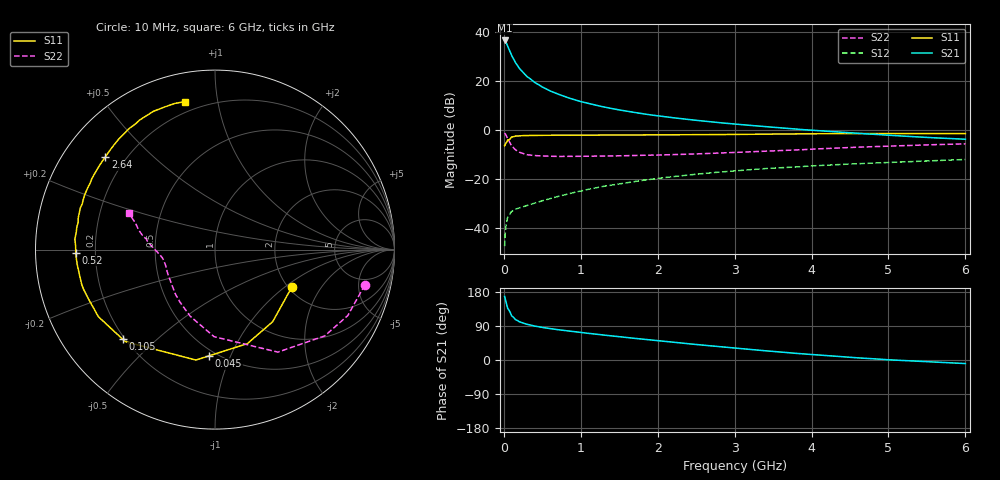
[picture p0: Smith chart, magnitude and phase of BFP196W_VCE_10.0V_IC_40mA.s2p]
! Infineon Technologies  Discrete & RF Semiconductors
! BFP196W
! VCE = 10.0V,  IC =  40mA
! Common Emitter S-Parameters:  Jan 2016
# GHz  S  MA  R  50
!  f  S11  S21  S12  S22
! GHz  MAG  ANG  MAG  ANG  MAG  ANG  MAG  ANG
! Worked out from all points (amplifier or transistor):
!   210 points, 10 MHz to 6 GHz, reference 50 ohm
!   highest |S21| = 36.4 dB at 10 MHz (marker M1)
!   |S21| within 3 dB of that: start of sweep to 59.57 MHz
!   unconditionally stable (mu >= 1): 763.2 MHz to 3.88 GHz
!   at 185 MHz: K = 0.47, MSG = 28.9 dB, |S12| = -31.9 dB
!   at 1.52 GHz: K = 1.11, MAG = 12.9 dB, |S12| = -21.8 dB
!   at 6 GHz: K = 0.95, MSG = 4.1 dB, |S12| = -12.0 dB
!   S11 on the Smith chart (normalised r, x): 10 MHz: 2.07, -1.13; 45 MHz: 0.46, -0.83; 105 MHz: 0.19, -0.39; 520 MHz: 0.13, -0.01; 2.64 GHz: 0.13, +0.36; 6 GHz: 0.14, +0.81
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0.01  0.4763 -26.3  66.2 167.7  0.0043 67.9  0.8575 -13.3
0.02  0.5146 -51.4  64.32 159.3  0.0086 66.2  0.8262 -26.4
0.03  0.554 -71.0  60.15 150.6  0.0117 61.8  0.7777 -38.2
0.045  0.5934 -93.3  52.62 140.4  0.0154 53.2  0.6881 -52.9
0.05  0.6244 -99.8  50.55 136.4  0.0167 51.2  0.6699 -58.5
0.1  0.7162 -134.3  32.92 116.9  0.0218 39.0  0.4851 -90.6
0.105  0.717 -135.9  31.95 116.2  0.022 38.6  0.4741 -92.2
0.15  0.7496 -150.1  23.53 106.7  0.0243 35.8  0.3963 -110.4
0.2  0.7566 -158.7  18.02 101.1  0.0258 36.2  0.3526 -123.3
0.24  0.7649 -163.2  15.34 98.0  0.0271 37.0  0.3351 -130.2
0.3  0.7679 -168.2  12.24 94.2  0.0289 39.6  0.3132 -139.0
0.4  0.7723 -174.0  9.273 89.5  0.0325 42.8  0.3009 -147.8
0.52  0.7761 -178.8  7.219 85.3  0.0368 47.1  0.2941 -154.6
0.7  0.783 175.7  5.389 80.1  0.0441 51.6  0.2888 -160.8
1.02  0.7783 168.4  3.707 72.3  0.0581 55.7  0.2905 -166.6
1.4  0.7823 161.0  2.728 63.5  0.0754 56.9  0.2963 -170.4
2.02  0.792 149.9  1.918 50.6  0.1038 55.2  0.3086 -174.7
2.64  0.7996 139.9  1.489 38.2  0.1315 51.4  0.3311 -179.3
3.1  0.8129 132.7  1.276 29.8  0.1511 47.7  0.3528 177.0
4.1  0.8359 119.0  0.964 13.1  0.1883 39.9  0.412 168.9
5.1  0.8428 108.5  0.762 -0.4  0.2207 32.5  0.4722 161.1
6  0.8413 101.3  0.646 -9.4  0.25 26.5  0.5203 156.6
